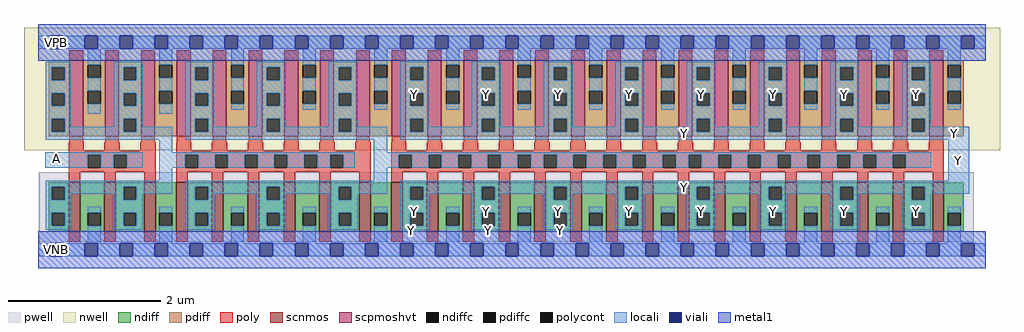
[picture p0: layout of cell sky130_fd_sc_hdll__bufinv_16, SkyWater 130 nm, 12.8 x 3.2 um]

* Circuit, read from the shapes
.subckt sky130_fd_sc_hdll__bufinv_16 A VGND VNB VPB VPWR Y
XM1 VGND A n1 VNB sky130_fd_pr__nfet_01v8 w=0.65 l=0.15 m=3
XM2 n2 n1 VGND VNB sky130_fd_pr__nfet_01v8 w=0.65 l=0.15 m=6
XM3 Y n2 VGND VNB sky130_fd_pr__nfet_01v8 w=0.65 l=0.15 m=16
XM4 VPWR A n1 VPB sky130_fd_pr__pfet_01v8_hvt w=1 l=0.18 m=3
XM5 n2 n1 VPWR VPB sky130_fd_pr__pfet_01v8_hvt w=1 l=0.18 m=6
XM6 Y n2 VPWR VPB sky130_fd_pr__pfet_01v8_hvt w=1 l=0.18 m=16
.ends

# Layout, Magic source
magic
tech sky130A
magscale 1 2
<< nwell >>
rect -38 261 2522 582
<< pwell >>
rect 1 21 2453 203
rect 30 -17 64 21
<< scnmos >>
rect 79 47 109 177
rect 173 47 203 177
rect 277 47 307 177
rect 361 47 391 177
rect 455 47 485 177
rect 549 47 579 177
rect 643 47 673 177
rect 737 47 767 177
rect 841 47 871 177
rect 925 47 955 177
rect 1019 47 1049 177
rect 1113 47 1143 177
rect 1207 47 1237 177
rect 1301 47 1331 177
rect 1395 47 1425 177
rect 1489 47 1519 177
rect 1583 47 1613 177
rect 1677 47 1707 177
rect 1771 47 1801 177
rect 1865 47 1895 177
rect 1959 47 1989 177
rect 2053 47 2083 177
rect 2147 47 2177 177
rect 2241 47 2271 177
rect 2345 47 2375 177
<< scpmoshvt >>
rect 81 297 117 497
rect 175 297 211 497
rect 269 297 305 497
rect 363 297 399 497
rect 457 297 493 497
rect 551 297 587 497
rect 645 297 681 497
rect 739 297 775 497
rect 833 297 869 497
rect 927 297 963 497
rect 1021 297 1057 497
rect 1115 297 1151 497
rect 1209 297 1245 497
rect 1303 297 1339 497
rect 1397 297 1433 497
rect 1491 297 1527 497
rect 1585 297 1621 497
rect 1679 297 1715 497
rect 1773 297 1809 497
rect 1867 297 1903 497
rect 1961 297 1997 497
rect 2055 297 2091 497
rect 2149 297 2185 497
rect 2243 297 2279 497
rect 2337 297 2373 497
<< ndiff >>
rect 27 165 79 177
rect 27 131 35 165
rect 69 131 79 165
rect 27 97 79 131
rect 27 63 35 97
rect 69 63 79 97
rect 27 47 79 63
rect 109 97 173 177
rect 109 63 129 97
rect 163 63 173 97
rect 109 47 173 63
rect 203 165 277 177
rect 203 131 223 165
rect 257 131 277 165
rect 203 97 277 131
rect 203 63 223 97
rect 257 63 277 97
rect 203 47 277 63
rect 307 97 361 177
rect 307 63 317 97
rect 351 63 361 97
rect 307 47 361 63
rect 391 165 455 177
rect 391 131 411 165
rect 445 131 455 165
rect 391 97 455 131
rect 391 63 411 97
rect 445 63 455 97
rect 391 47 455 63
rect 485 97 549 177
rect 485 63 505 97
rect 539 63 549 97
rect 485 47 549 63
rect 579 165 643 177
rect 579 131 599 165
rect 633 131 643 165
rect 579 97 643 131
rect 579 63 599 97
rect 633 63 643 97
rect 579 47 643 63
rect 673 97 737 177
rect 673 63 693 97
rect 727 63 737 97
rect 673 47 737 63
rect 767 165 841 177
rect 767 131 787 165
rect 821 131 841 165
rect 767 97 841 131
rect 767 63 787 97
rect 821 63 841 97
rect 767 47 841 63
rect 871 97 925 177
rect 871 63 881 97
rect 915 63 925 97
rect 871 47 925 63
rect 955 165 1019 177
rect 955 131 975 165
rect 1009 131 1019 165
rect 955 97 1019 131
rect 955 63 975 97
rect 1009 63 1019 97
rect 955 47 1019 63
rect 1049 97 1113 177
rect 1049 63 1069 97
rect 1103 63 1113 97
rect 1049 47 1113 63
rect 1143 165 1207 177
rect 1143 131 1163 165
rect 1197 131 1207 165
rect 1143 97 1207 131
rect 1143 63 1163 97
rect 1197 63 1207 97
rect 1143 47 1207 63
rect 1237 97 1301 177
rect 1237 63 1257 97
rect 1291 63 1301 97
rect 1237 47 1301 63
rect 1331 165 1395 177
rect 1331 131 1351 165
rect 1385 131 1395 165
rect 1331 97 1395 131
rect 1331 63 1351 97
rect 1385 63 1395 97
rect 1331 47 1395 63
rect 1425 97 1489 177
rect 1425 63 1445 97
rect 1479 63 1489 97
rect 1425 47 1489 63
rect 1519 165 1583 177
rect 1519 131 1539 165
rect 1573 131 1583 165
rect 1519 97 1583 131
rect 1519 63 1539 97
rect 1573 63 1583 97
rect 1519 47 1583 63
rect 1613 97 1677 177
rect 1613 63 1633 97
rect 1667 63 1677 97
rect 1613 47 1677 63
rect 1707 165 1771 177
rect 1707 131 1727 165
rect 1761 131 1771 165
rect 1707 97 1771 131
rect 1707 63 1727 97
rect 1761 63 1771 97
rect 1707 47 1771 63
rect 1801 97 1865 177
rect 1801 63 1821 97
rect 1855 63 1865 97
rect 1801 47 1865 63
rect 1895 165 1959 177
rect 1895 131 1915 165
rect 1949 131 1959 165
rect 1895 97 1959 131
rect 1895 63 1915 97
rect 1949 63 1959 97
rect 1895 47 1959 63
rect 1989 97 2053 177
rect 1989 63 2009 97
rect 2043 63 2053 97
rect 1989 47 2053 63
rect 2083 165 2147 177
rect 2083 131 2103 165
rect 2137 131 2147 165
rect 2083 97 2147 131
rect 2083 63 2103 97
rect 2137 63 2147 97
rect 2083 47 2147 63
rect 2177 97 2241 177
rect 2177 63 2197 97
rect 2231 63 2241 97
rect 2177 47 2241 63
rect 2271 165 2345 177
rect 2271 131 2291 165
rect 2325 131 2345 165
rect 2271 97 2345 131
rect 2271 63 2291 97
rect 2325 63 2345 97
rect 2271 47 2345 63
rect 2375 97 2427 177
rect 2375 63 2385 97
rect 2419 63 2427 97
rect 2375 47 2427 63
<< pdiff >>
rect 27 479 81 497
rect 27 445 35 479
rect 69 445 81 479
rect 27 411 81 445
rect 27 377 35 411
rect 69 377 81 411
rect 27 343 81 377
rect 27 309 35 343
rect 69 309 81 343
rect 27 297 81 309
rect 117 485 175 497
rect 117 451 129 485
rect 163 451 175 485
rect 117 417 175 451
rect 117 383 129 417
rect 163 383 175 417
rect 117 297 175 383
rect 211 479 269 497
rect 211 445 223 479
rect 257 445 269 479
rect 211 411 269 445
rect 211 377 223 411
rect 257 377 269 411
rect 211 343 269 377
rect 211 309 223 343
rect 257 309 269 343
rect 211 297 269 309
rect 305 485 363 497
rect 305 451 317 485
rect 351 451 363 485
rect 305 417 363 451
rect 305 383 317 417
rect 351 383 363 417
rect 305 297 363 383
rect 399 479 457 497
rect 399 445 411 479
rect 445 445 457 479
rect 399 411 457 445
rect 399 377 411 411
rect 445 377 457 411
rect 399 343 457 377
rect 399 309 411 343
rect 445 309 457 343
rect 399 297 457 309
rect 493 485 551 497
rect 493 451 505 485
rect 539 451 551 485
rect 493 417 551 451
rect 493 383 505 417
rect 539 383 551 417
rect 493 297 551 383
rect 587 479 645 497
rect 587 445 599 479
rect 633 445 645 479
rect 587 411 645 445
rect 587 377 599 411
rect 633 377 645 411
rect 587 343 645 377
rect 587 309 599 343
rect 633 309 645 343
rect 587 297 645 309
rect 681 485 739 497
rect 681 451 693 485
rect 727 451 739 485
rect 681 417 739 451
rect 681 383 693 417
rect 727 383 739 417
rect 681 297 739 383
rect 775 479 833 497
rect 775 445 787 479
rect 821 445 833 479
rect 775 411 833 445
rect 775 377 787 411
rect 821 377 833 411
rect 775 343 833 377
rect 775 309 787 343
rect 821 309 833 343
rect 775 297 833 309
rect 869 485 927 497
rect 869 451 881 485
rect 915 451 927 485
rect 869 417 927 451
rect 869 383 881 417
rect 915 383 927 417
rect 869 297 927 383
rect 963 479 1021 497
rect 963 445 975 479
rect 1009 445 1021 479
rect 963 411 1021 445
rect 963 377 975 411
rect 1009 377 1021 411
rect 963 343 1021 377
rect 963 309 975 343
rect 1009 309 1021 343
rect 963 297 1021 309
rect 1057 485 1115 497
rect 1057 451 1069 485
rect 1103 451 1115 485
rect 1057 417 1115 451
rect 1057 383 1069 417
rect 1103 383 1115 417
rect 1057 297 1115 383
rect 1151 479 1209 497
rect 1151 445 1163 479
rect 1197 445 1209 479
rect 1151 411 1209 445
rect 1151 377 1163 411
rect 1197 377 1209 411
rect 1151 343 1209 377
rect 1151 309 1163 343
rect 1197 309 1209 343
rect 1151 297 1209 309
rect 1245 485 1303 497
rect 1245 451 1257 485
rect 1291 451 1303 485
rect 1245 417 1303 451
rect 1245 383 1257 417
rect 1291 383 1303 417
rect 1245 297 1303 383
rect 1339 479 1397 497
rect 1339 445 1351 479
rect 1385 445 1397 479
rect 1339 411 1397 445
rect 1339 377 1351 411
rect 1385 377 1397 411
rect 1339 343 1397 377
rect 1339 309 1351 343
rect 1385 309 1397 343
rect 1339 297 1397 309
rect 1433 485 1491 497
rect 1433 451 1445 485
rect 1479 451 1491 485
rect 1433 417 1491 451
rect 1433 383 1445 417
rect 1479 383 1491 417
rect 1433 297 1491 383
rect 1527 479 1585 497
rect 1527 445 1539 479
rect 1573 445 1585 479
rect 1527 411 1585 445
rect 1527 377 1539 411
rect 1573 377 1585 411
rect 1527 343 1585 377
rect 1527 309 1539 343
rect 1573 309 1585 343
rect 1527 297 1585 309
rect 1621 485 1679 497
rect 1621 451 1633 485
rect 1667 451 1679 485
rect 1621 417 1679 451
rect 1621 383 1633 417
rect 1667 383 1679 417
rect 1621 297 1679 383
rect 1715 479 1773 497
rect 1715 445 1727 479
rect 1761 445 1773 479
rect 1715 411 1773 445
rect 1715 377 1727 411
rect 1761 377 1773 411
rect 1715 343 1773 377
rect 1715 309 1727 343
rect 1761 309 1773 343
rect 1715 297 1773 309
rect 1809 485 1867 497
rect 1809 451 1821 485
rect 1855 451 1867 485
rect 1809 417 1867 451
rect 1809 383 1821 417
rect 1855 383 1867 417
rect 1809 297 1867 383
rect 1903 479 1961 497
rect 1903 445 1915 479
rect 1949 445 1961 479
rect 1903 411 1961 445
rect 1903 377 1915 411
rect 1949 377 1961 411
rect 1903 343 1961 377
rect 1903 309 1915 343
rect 1949 309 1961 343
rect 1903 297 1961 309
rect 1997 485 2055 497
rect 1997 451 2009 485
rect 2043 451 2055 485
rect 1997 417 2055 451
rect 1997 383 2009 417
rect 2043 383 2055 417
rect 1997 297 2055 383
rect 2091 479 2149 497
rect 2091 445 2103 479
rect 2137 445 2149 479
rect 2091 411 2149 445
rect 2091 377 2103 411
rect 2137 377 2149 411
rect 2091 343 2149 377
rect 2091 309 2103 343
rect 2137 309 2149 343
rect 2091 297 2149 309
rect 2185 485 2243 497
rect 2185 451 2197 485
rect 2231 451 2243 485
rect 2185 417 2243 451
rect 2185 383 2197 417
rect 2231 383 2243 417
rect 2185 297 2243 383
rect 2279 479 2337 497
rect 2279 445 2291 479
rect 2325 445 2337 479
rect 2279 411 2337 445
rect 2279 377 2291 411
rect 2325 377 2337 411
rect 2279 343 2337 377
rect 2279 309 2291 343
rect 2325 309 2337 343
rect 2279 297 2337 309
rect 2373 485 2427 497
rect 2373 451 2385 485
rect 2419 451 2427 485
rect 2373 417 2427 451
rect 2373 383 2385 417
rect 2419 383 2427 417
rect 2373 297 2427 383
<< ndiffc >>
rect 35 131 69 165
rect 35 63 69 97
rect 129 63 163 97
rect 223 131 257 165
rect 223 63 257 97
rect 317 63 351 97
rect 411 131 445 165
rect 411 63 445 97
rect 505 63 539 97
rect 599 131 633 165
rect 599 63 633 97
rect 693 63 727 97
rect 787 131 821 165
rect 787 63 821 97
rect 881 63 915 97
rect 975 131 1009 165
rect 975 63 1009 97
rect 1069 63 1103 97
rect 1163 131 1197 165
rect 1163 63 1197 97
rect 1257 63 1291 97
rect 1351 131 1385 165
rect 1351 63 1385 97
rect 1445 63 1479 97
rect 1539 131 1573 165
rect 1539 63 1573 97
rect 1633 63 1667 97
rect 1727 131 1761 165
rect 1727 63 1761 97
rect 1821 63 1855 97
rect 1915 131 1949 165
rect 1915 63 1949 97
rect 2009 63 2043 97
rect 2103 131 2137 165
rect 2103 63 2137 97
rect 2197 63 2231 97
rect 2291 131 2325 165
rect 2291 63 2325 97
rect 2385 63 2419 97
<< pdiffc >>
rect 35 445 69 479
rect 35 377 69 411
rect 35 309 69 343
rect 129 451 163 485
rect 129 383 163 417
rect 223 445 257 479
rect 223 377 257 411
rect 223 309 257 343
rect 317 451 351 485
rect 317 383 351 417
rect 411 445 445 479
rect 411 377 445 411
rect 411 309 445 343
rect 505 451 539 485
rect 505 383 539 417
rect 599 445 633 479
rect 599 377 633 411
rect 599 309 633 343
rect 693 451 727 485
rect 693 383 727 417
rect 787 445 821 479
rect 787 377 821 411
rect 787 309 821 343
rect 881 451 915 485
rect 881 383 915 417
rect 975 445 1009 479
rect 975 377 1009 411
rect 975 309 1009 343
rect 1069 451 1103 485
rect 1069 383 1103 417
rect 1163 445 1197 479
rect 1163 377 1197 411
rect 1163 309 1197 343
rect 1257 451 1291 485
rect 1257 383 1291 417
rect 1351 445 1385 479
rect 1351 377 1385 411
rect 1351 309 1385 343
rect 1445 451 1479 485
rect 1445 383 1479 417
rect 1539 445 1573 479
rect 1539 377 1573 411
rect 1539 309 1573 343
rect 1633 451 1667 485
rect 1633 383 1667 417
rect 1727 445 1761 479
rect 1727 377 1761 411
rect 1727 309 1761 343
rect 1821 451 1855 485
rect 1821 383 1855 417
rect 1915 445 1949 479
rect 1915 377 1949 411
rect 1915 309 1949 343
rect 2009 451 2043 485
rect 2009 383 2043 417
rect 2103 445 2137 479
rect 2103 377 2137 411
rect 2103 309 2137 343
rect 2197 451 2231 485
rect 2197 383 2231 417
rect 2291 445 2325 479
rect 2291 377 2325 411
rect 2291 309 2325 343
rect 2385 451 2419 485
rect 2385 383 2419 417
<< poly >>
rect 81 497 117 523
rect 175 497 211 523
rect 269 497 305 523
rect 363 497 399 523
rect 457 497 493 523
rect 551 497 587 523
rect 645 497 681 523
rect 739 497 775 523
rect 833 497 869 523
rect 927 497 963 523
rect 1021 497 1057 523
rect 1115 497 1151 523
rect 1209 497 1245 523
rect 1303 497 1339 523
rect 1397 497 1433 523
rect 1491 497 1527 523
rect 1585 497 1621 523
rect 1679 497 1715 523
rect 1773 497 1809 523
rect 1867 497 1903 523
rect 1961 497 1997 523
rect 2055 497 2091 523
rect 2149 497 2185 523
rect 2243 497 2279 523
rect 2337 497 2373 523
rect 81 282 117 297
rect 175 282 211 297
rect 269 282 305 297
rect 363 282 399 297
rect 457 282 493 297
rect 551 282 587 297
rect 645 282 681 297
rect 739 282 775 297
rect 833 282 869 297
rect 927 282 963 297
rect 1021 282 1057 297
rect 1115 282 1151 297
rect 1209 282 1245 297
rect 1303 282 1339 297
rect 1397 282 1433 297
rect 1491 282 1527 297
rect 1585 282 1621 297
rect 1679 282 1715 297
rect 1773 282 1809 297
rect 1867 282 1903 297
rect 1961 282 1997 297
rect 2055 282 2091 297
rect 2149 282 2185 297
rect 2243 282 2279 297
rect 2337 282 2373 297
rect 79 259 119 282
rect 173 259 213 282
rect 267 259 307 282
rect 79 249 307 259
rect 79 215 129 249
rect 163 215 197 249
rect 231 215 307 249
rect 79 205 307 215
rect 79 177 109 205
rect 173 177 203 205
rect 277 177 307 205
rect 361 259 401 282
rect 455 259 495 282
rect 549 259 589 282
rect 643 259 683 282
rect 737 259 777 282
rect 831 259 871 282
rect 361 249 871 259
rect 361 215 385 249
rect 419 215 463 249
rect 497 215 541 249
rect 575 215 619 249
rect 653 215 697 249
rect 731 215 765 249
rect 799 215 871 249
rect 361 205 871 215
rect 361 177 391 205
rect 455 177 485 205
rect 549 177 579 205
rect 643 177 673 205
rect 737 177 767 205
rect 841 177 871 205
rect 925 259 965 282
rect 1019 259 1059 282
rect 1113 259 1153 282
rect 1207 259 1247 282
rect 1301 259 1341 282
rect 1395 259 1435 282
rect 1489 259 1529 282
rect 1583 259 1623 282
rect 1677 259 1717 282
rect 1771 259 1811 282
rect 1865 259 1905 282
rect 1959 259 1999 282
rect 2053 259 2093 282
rect 2147 259 2187 282
rect 2241 259 2281 282
rect 2335 259 2375 282
rect 925 249 2375 259
rect 925 215 945 249
rect 979 215 1023 249
rect 1057 215 1101 249
rect 1135 215 1179 249
rect 1213 215 1257 249
rect 1291 215 1325 249
rect 1359 215 1403 249
rect 1437 215 1481 249
rect 1515 215 1559 249
rect 1593 215 1637 249
rect 1671 215 1705 249
rect 1739 215 1783 249
rect 1817 215 1861 249
rect 1895 215 1939 249
rect 1973 215 2017 249
rect 2051 215 2095 249
rect 2129 215 2163 249
rect 2197 215 2241 249
rect 2275 215 2375 249
rect 925 205 2375 215
rect 925 177 955 205
rect 1019 177 1049 205
rect 1113 177 1143 205
rect 1207 177 1237 205
rect 1301 177 1331 205
rect 1395 177 1425 205
rect 1489 177 1519 205
rect 1583 177 1613 205
rect 1677 177 1707 205
rect 1771 177 1801 205
rect 1865 177 1895 205
rect 1959 177 1989 205
rect 2053 177 2083 205
rect 2147 177 2177 205
rect 2241 177 2271 205
rect 2345 177 2375 205
rect 79 21 109 47
rect 173 21 203 47
rect 277 21 307 47
rect 361 21 391 47
rect 455 21 485 47
rect 549 21 579 47
rect 643 21 673 47
rect 737 21 767 47
rect 841 21 871 47
rect 925 21 955 47
rect 1019 21 1049 47
rect 1113 21 1143 47
rect 1207 21 1237 47
rect 1301 21 1331 47
rect 1395 21 1425 47
rect 1489 21 1519 47
rect 1583 21 1613 47
rect 1677 21 1707 47
rect 1771 21 1801 47
rect 1865 21 1895 47
rect 1959 21 1989 47
rect 2053 21 2083 47
rect 2147 21 2177 47
rect 2241 21 2271 47
rect 2345 21 2375 47
<< polycont >>
rect 129 215 163 249
rect 197 215 231 249
rect 385 215 419 249
rect 463 215 497 249
rect 541 215 575 249
rect 619 215 653 249
rect 697 215 731 249
rect 765 215 799 249
rect 945 215 979 249
rect 1023 215 1057 249
rect 1101 215 1135 249
rect 1179 215 1213 249
rect 1257 215 1291 249
rect 1325 215 1359 249
rect 1403 215 1437 249
rect 1481 215 1515 249
rect 1559 215 1593 249
rect 1637 215 1671 249
rect 1705 215 1739 249
rect 1783 215 1817 249
rect 1861 215 1895 249
rect 1939 215 1973 249
rect 2017 215 2051 249
rect 2095 215 2129 249
rect 2163 215 2197 249
rect 2241 215 2275 249
<< locali >>
rect 0 527 29 561
rect 63 527 121 561
rect 155 527 213 561
rect 247 527 305 561
rect 339 527 397 561
rect 431 527 489 561
rect 523 527 581 561
rect 615 527 673 561
rect 707 527 765 561
rect 799 527 857 561
rect 891 527 949 561
rect 983 527 1041 561
rect 1075 527 1133 561
rect 1167 527 1225 561
rect 1259 527 1317 561
rect 1351 527 1409 561
rect 1443 527 1501 561
rect 1535 527 1593 561
rect 1627 527 1685 561
rect 1719 527 1777 561
rect 1811 527 1869 561
rect 1903 527 1961 561
rect 1995 527 2053 561
rect 2087 527 2145 561
rect 2179 527 2237 561
rect 2271 527 2329 561
rect 2363 527 2421 561
rect 2455 527 2484 561
rect 19 479 85 493
rect 19 445 35 479
rect 69 445 85 479
rect 19 411 85 445
rect 19 377 35 411
rect 69 377 85 411
rect 19 343 85 377
rect 129 485 163 527
rect 129 417 163 451
rect 129 357 163 383
rect 197 479 273 493
rect 197 445 223 479
rect 257 445 273 479
rect 197 411 273 445
rect 197 377 223 411
rect 257 377 273 411
rect 19 309 35 343
rect 69 323 85 343
rect 197 343 273 377
rect 317 485 351 527
rect 317 417 351 451
rect 317 357 351 383
rect 385 479 461 493
rect 385 445 411 479
rect 445 445 461 479
rect 385 411 461 445
rect 385 377 411 411
rect 445 377 461 411
rect 197 323 223 343
rect 69 309 223 323
rect 257 323 273 343
rect 385 343 461 377
rect 505 485 539 527
rect 505 417 539 451
rect 505 367 539 383
rect 573 479 649 493
rect 573 445 599 479
rect 633 445 649 479
rect 573 411 649 445
rect 573 377 599 411
rect 633 377 649 411
rect 257 309 351 323
rect 19 289 351 309
rect 385 309 411 343
rect 445 323 461 343
rect 573 343 649 377
rect 693 485 727 527
rect 693 417 727 451
rect 693 367 727 383
rect 761 479 837 493
rect 761 445 787 479
rect 821 445 837 479
rect 761 411 837 445
rect 761 377 787 411
rect 821 377 837 411
rect 573 323 599 343
rect 445 309 599 323
rect 633 323 649 343
rect 761 343 837 377
rect 881 485 915 527
rect 881 417 915 451
rect 881 367 915 383
rect 949 479 1025 493
rect 949 445 975 479
rect 1009 445 1025 479
rect 949 411 1025 445
rect 949 377 975 411
rect 1009 377 1025 411
rect 761 323 787 343
rect 633 309 787 323
rect 821 323 837 343
rect 949 343 1025 377
rect 1069 485 1103 527
rect 1069 417 1103 451
rect 1069 367 1103 383
rect 1137 479 1213 493
rect 1137 445 1163 479
rect 1197 445 1213 479
rect 1137 411 1213 445
rect 1137 377 1163 411
rect 1197 377 1213 411
rect 821 309 915 323
rect 385 289 915 309
rect 949 309 975 343
rect 1009 323 1025 343
rect 1137 343 1213 377
rect 1257 485 1291 527
rect 1257 417 1291 451
rect 1257 367 1291 383
rect 1325 479 1401 493
rect 1325 445 1351 479
rect 1385 445 1401 479
rect 1325 411 1401 445
rect 1325 377 1351 411
rect 1385 377 1401 411
rect 1137 323 1163 343
rect 1009 309 1163 323
rect 1197 323 1213 343
rect 1325 343 1401 377
rect 1445 485 1479 527
rect 1445 417 1479 451
rect 1445 367 1479 383
rect 1513 479 1589 493
rect 1513 445 1539 479
rect 1573 445 1589 479
rect 1513 411 1589 445
rect 1513 377 1539 411
rect 1573 377 1589 411
rect 1325 323 1351 343
rect 1197 309 1351 323
rect 1385 323 1401 343
rect 1513 343 1589 377
rect 1633 485 1667 527
rect 1633 417 1667 451
rect 1633 367 1667 383
rect 1701 479 1777 493
rect 1701 445 1727 479
rect 1761 445 1777 479
rect 1701 411 1777 445
rect 1701 377 1727 411
rect 1761 377 1777 411
rect 1513 323 1539 343
rect 1385 309 1539 323
rect 1573 323 1589 343
rect 1701 343 1777 377
rect 1821 485 1855 527
rect 1821 417 1855 451
rect 1821 367 1855 383
rect 1889 479 1965 493
rect 1889 445 1915 479
rect 1949 445 1965 479
rect 1889 411 1965 445
rect 1889 377 1915 411
rect 1949 377 1965 411
rect 1701 323 1727 343
rect 1573 309 1727 323
rect 1761 323 1777 343
rect 1889 343 1965 377
rect 2009 485 2043 527
rect 2009 417 2043 451
rect 2009 367 2043 383
rect 2077 479 2153 493
rect 2077 445 2103 479
rect 2137 445 2153 479
rect 2077 411 2153 445
rect 2077 377 2103 411
rect 2137 377 2153 411
rect 1889 323 1915 343
rect 1761 309 1915 323
rect 1949 323 1965 343
rect 2077 343 2153 377
rect 2197 485 2231 527
rect 2197 417 2231 451
rect 2197 367 2231 383
rect 2265 479 2341 493
rect 2265 445 2291 479
rect 2325 445 2341 479
rect 2265 411 2341 445
rect 2265 377 2291 411
rect 2325 377 2341 411
rect 2077 323 2103 343
rect 1949 309 2103 323
rect 2137 323 2153 343
rect 2265 343 2341 377
rect 2385 485 2419 527
rect 2385 417 2419 451
rect 2385 367 2419 383
rect 2265 323 2291 343
rect 2137 309 2291 323
rect 2325 323 2341 343
rect 2325 309 2441 323
rect 949 289 2441 309
rect 317 255 351 289
rect 880 255 915 289
rect 18 249 273 255
rect 18 215 129 249
rect 163 215 197 249
rect 231 215 273 249
rect 317 249 829 255
rect 317 215 385 249
rect 419 215 463 249
rect 497 215 541 249
rect 575 215 619 249
rect 653 215 697 249
rect 731 215 765 249
rect 799 215 829 249
rect 880 249 2342 255
rect 880 215 945 249
rect 979 215 1023 249
rect 1057 215 1101 249
rect 1135 215 1179 249
rect 1213 215 1257 249
rect 1291 215 1325 249
rect 1359 215 1403 249
rect 1437 215 1481 249
rect 1515 215 1559 249
rect 1593 215 1637 249
rect 1671 215 1705 249
rect 1739 215 1783 249
rect 1817 215 1861 249
rect 1895 215 1939 249
rect 1973 215 2017 249
rect 2051 215 2095 249
rect 2129 215 2163 249
rect 2197 215 2241 249
rect 2275 215 2342 249
rect 317 181 351 215
rect 880 181 915 215
rect 2386 181 2441 289
rect 19 165 351 181
rect 19 131 35 165
rect 69 147 223 165
rect 69 131 85 147
rect 19 97 85 131
rect 197 131 223 147
rect 257 147 351 165
rect 385 165 915 181
rect 257 131 273 147
rect 19 63 35 97
rect 69 63 85 97
rect 19 52 85 63
rect 129 97 163 113
rect 129 17 163 63
rect 197 97 273 131
rect 385 131 411 165
rect 445 147 599 165
rect 445 131 461 147
rect 197 63 223 97
rect 257 63 273 97
rect 197 52 273 63
rect 317 97 351 113
rect 317 17 351 63
rect 385 97 461 131
rect 573 131 599 147
rect 633 147 787 165
rect 633 131 649 147
rect 385 63 411 97
rect 445 63 461 97
rect 385 52 461 63
rect 505 97 539 113
rect 505 17 539 63
rect 573 97 649 131
rect 761 131 787 147
rect 821 147 915 165
rect 949 165 2441 181
rect 821 131 837 147
rect 573 63 599 97
rect 633 63 649 97
rect 573 52 649 63
rect 693 97 727 113
rect 693 17 727 63
rect 761 97 837 131
rect 949 131 975 165
rect 1009 147 1163 165
rect 1009 131 1025 147
rect 761 63 787 97
rect 821 63 837 97
rect 761 52 837 63
rect 881 97 915 113
rect 881 17 915 63
rect 949 97 1025 131
rect 1137 131 1163 147
rect 1197 147 1351 165
rect 1197 131 1213 147
rect 949 63 975 97
rect 1009 63 1025 97
rect 949 52 1025 63
rect 1069 97 1103 113
rect 949 51 1009 52
rect 1069 17 1103 63
rect 1137 97 1213 131
rect 1325 131 1351 147
rect 1385 147 1539 165
rect 1385 131 1401 147
rect 1137 63 1163 97
rect 1197 63 1213 97
rect 1137 52 1213 63
rect 1257 97 1291 113
rect 1163 51 1197 52
rect 1257 17 1291 63
rect 1325 97 1401 131
rect 1513 131 1539 147
rect 1573 147 1727 165
rect 1573 131 1589 147
rect 1325 63 1351 97
rect 1385 63 1401 97
rect 1325 52 1401 63
rect 1445 97 1479 113
rect 1351 51 1385 52
rect 1445 17 1479 63
rect 1513 97 1589 131
rect 1701 131 1727 147
rect 1761 147 1915 165
rect 1761 131 1777 147
rect 1513 63 1539 97
rect 1573 63 1589 97
rect 1513 52 1589 63
rect 1633 97 1667 113
rect 1633 17 1667 63
rect 1701 97 1777 131
rect 1889 131 1915 147
rect 1949 147 2103 165
rect 1949 131 1965 147
rect 1701 63 1727 97
rect 1761 63 1777 97
rect 1701 52 1777 63
rect 1821 97 1855 113
rect 1821 17 1855 63
rect 1889 97 1965 131
rect 2077 131 2103 147
rect 2137 147 2291 165
rect 2137 131 2153 147
rect 1889 63 1915 97
rect 1949 63 1965 97
rect 1889 52 1965 63
rect 2009 97 2043 113
rect 2009 17 2043 63
rect 2077 97 2153 131
rect 2265 131 2291 147
rect 2325 147 2441 165
rect 2325 131 2341 147
rect 2077 63 2103 97
rect 2137 63 2153 97
rect 2077 52 2153 63
rect 2197 97 2231 113
rect 2197 17 2231 63
rect 2265 97 2341 131
rect 2265 63 2291 97
rect 2325 63 2341 97
rect 2265 52 2341 63
rect 2385 97 2419 113
rect 2385 17 2419 63
rect 0 -17 29 17
rect 63 -17 121 17
rect 155 -17 213 17
rect 247 -17 305 17
rect 339 -17 397 17
rect 431 -17 489 17
rect 523 -17 581 17
rect 615 -17 673 17
rect 707 -17 765 17
rect 799 -17 857 17
rect 891 -17 949 17
rect 983 -17 1041 17
rect 1075 -17 1133 17
rect 1167 -17 1225 17
rect 1259 -17 1317 17
rect 1351 -17 1409 17
rect 1443 -17 1501 17
rect 1535 -17 1593 17
rect 1627 -17 1685 17
rect 1719 -17 1777 17
rect 1811 -17 1869 17
rect 1903 -17 1961 17
rect 1995 -17 2053 17
rect 2087 -17 2145 17
rect 2179 -17 2237 17
rect 2271 -17 2329 17
rect 2363 -17 2421 17
rect 2455 -17 2484 17
<< viali >>
rect 29 527 63 561
rect 121 527 155 561
rect 213 527 247 561
rect 305 527 339 561
rect 397 527 431 561
rect 489 527 523 561
rect 581 527 615 561
rect 673 527 707 561
rect 765 527 799 561
rect 857 527 891 561
rect 949 527 983 561
rect 1041 527 1075 561
rect 1133 527 1167 561
rect 1225 527 1259 561
rect 1317 527 1351 561
rect 1409 527 1443 561
rect 1501 527 1535 561
rect 1593 527 1627 561
rect 1685 527 1719 561
rect 1777 527 1811 561
rect 1869 527 1903 561
rect 1961 527 1995 561
rect 2053 527 2087 561
rect 2145 527 2179 561
rect 2237 527 2271 561
rect 2329 527 2363 561
rect 2421 527 2455 561
rect 29 -17 63 17
rect 121 -17 155 17
rect 213 -17 247 17
rect 305 -17 339 17
rect 397 -17 431 17
rect 489 -17 523 17
rect 581 -17 615 17
rect 673 -17 707 17
rect 765 -17 799 17
rect 857 -17 891 17
rect 949 -17 983 17
rect 1041 -17 1075 17
rect 1133 -17 1167 17
rect 1225 -17 1259 17
rect 1317 -17 1351 17
rect 1409 -17 1443 17
rect 1501 -17 1535 17
rect 1593 -17 1627 17
rect 1685 -17 1719 17
rect 1777 -17 1811 17
rect 1869 -17 1903 17
rect 1961 -17 1995 17
rect 2053 -17 2087 17
rect 2145 -17 2179 17
rect 2237 -17 2271 17
rect 2329 -17 2363 17
rect 2421 -17 2455 17
<< metal1 >>
rect 0 561 2484 592
rect 0 527 29 561
rect 63 527 121 561
rect 155 527 213 561
rect 247 527 305 561
rect 339 527 397 561
rect 431 527 489 561
rect 523 527 581 561
rect 615 527 673 561
rect 707 527 765 561
rect 799 527 857 561
rect 891 527 949 561
rect 983 527 1041 561
rect 1075 527 1133 561
rect 1167 527 1225 561
rect 1259 527 1317 561
rect 1351 527 1409 561
rect 1443 527 1501 561
rect 1535 527 1593 561
rect 1627 527 1685 561
rect 1719 527 1777 561
rect 1811 527 1869 561
rect 1903 527 1961 561
rect 1995 527 2053 561
rect 2087 527 2145 561
rect 2179 527 2237 561
rect 2271 527 2329 561
rect 2363 527 2421 561
rect 2455 527 2484 561
rect 0 496 2484 527
rect 0 17 2484 48
rect 0 -17 29 17
rect 63 -17 121 17
rect 155 -17 213 17
rect 247 -17 305 17
rect 339 -17 397 17
rect 431 -17 489 17
rect 523 -17 581 17
rect 615 -17 673 17
rect 707 -17 765 17
rect 799 -17 857 17
rect 891 -17 949 17
rect 983 -17 1041 17
rect 1075 -17 1133 17
rect 1167 -17 1225 17
rect 1259 -17 1317 17
rect 1351 -17 1409 17
rect 1443 -17 1501 17
rect 1535 -17 1593 17
rect 1627 -17 1685 17
rect 1719 -17 1777 17
rect 1811 -17 1869 17
rect 1903 -17 1961 17
rect 1995 -17 2053 17
rect 2087 -17 2145 17
rect 2179 -17 2237 17
rect 2271 -17 2329 17
rect 2363 -17 2421 17
rect 2455 -17 2484 17
rect 0 -48 2484 -17
<< labels >>
flabel locali s 30 221 64 255 0 FreeSans 200 0 0 0 A
port 1 nsew signal input
flabel locali s 2386 181 2441 289 0 FreeSans 200 0 0 0 Y
port 6 nsew signal output
flabel locali s 2403 306 2403 306 0 FreeSans 200 0 0 0 Y
port 6 nsew
flabel pwell s 30 -17 64 17 0 FreeSans 200 0 0 0 VNB
port 3 nsew ground bidirectional
flabel nwell s 30 527 64 561 0 FreeSans 200 0 0 0 VPB
port 4 nsew power bidirectional
flabel metal1 s 30 -17 64 17 0 FreeSans 200 0 0 0 VGND
port 2 nsew ground bidirectional
flabel metal1 s 30 527 64 561 0 FreeSans 200 0 0 0 VPWR
port 5 nsew power bidirectional
rlabel comment s 0 0 0 0 4 bufinv_16
rlabel locali s 2265 323 2341 493 1 Y
port 6 nsew signal output
rlabel locali s 2265 52 2341 147 1 Y
port 6 nsew signal output
rlabel locali s 2077 323 2153 493 1 Y
port 6 nsew signal output
rlabel locali s 2077 52 2153 147 1 Y
port 6 nsew signal output
rlabel locali s 1889 323 1965 493 1 Y
port 6 nsew signal output
rlabel locali s 1889 52 1965 147 1 Y
port 6 nsew signal output
rlabel locali s 1701 323 1777 493 1 Y
port 6 nsew signal output
rlabel locali s 1701 52 1777 147 1 Y
port 6 nsew signal output
rlabel locali s 1513 323 1589 493 1 Y
port 6 nsew signal output
rlabel locali s 1513 52 1589 147 1 Y
port 6 nsew signal output
rlabel locali s 1351 51 1385 52 1 Y
port 6 nsew signal output
rlabel locali s 1325 323 1401 493 1 Y
port 6 nsew signal output
rlabel locali s 1325 52 1401 147 1 Y
port 6 nsew signal output
rlabel locali s 1163 51 1197 52 1 Y
port 6 nsew signal output
rlabel locali s 1137 323 1213 493 1 Y
port 6 nsew signal output
rlabel locali s 1137 52 1213 147 1 Y
port 6 nsew signal output
rlabel locali s 949 323 1025 493 1 Y
port 6 nsew signal output
rlabel locali s 949 289 2441 323 1 Y
port 6 nsew signal output
rlabel locali s 949 147 2441 181 1 Y
port 6 nsew signal output
rlabel locali s 949 52 1025 147 1 Y
port 6 nsew signal output
rlabel locali s 949 51 1009 52 1 Y
port 6 nsew signal output
<< properties >>
string LEFsite unithd
string LEFclass CORE
string FIXED_BBOX 0 0 2484 544
string GDS_FILE $PDKPATH/libs.ref/sky130_fd_sc_hdll/gds/sky130_fd_sc_hdll.gds
string LEFsymmetry X Y R90
string GDS_END 1403848
string GDS_START 1385806
string LEFproperties maskLayoutSubType "abstract" prCellType "standard" originalViewName "layout"
<< end >>
